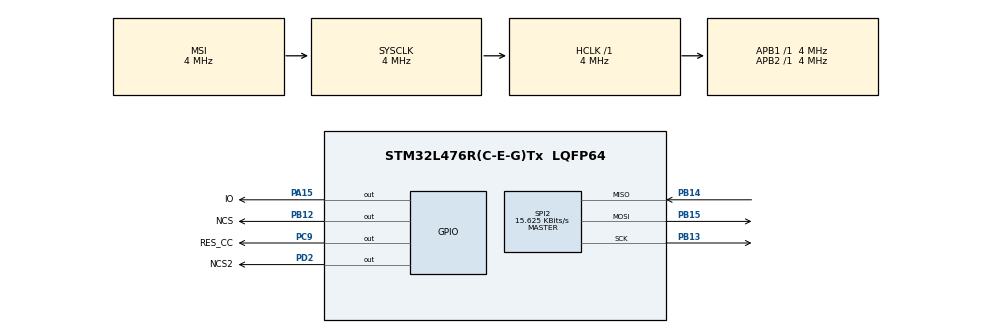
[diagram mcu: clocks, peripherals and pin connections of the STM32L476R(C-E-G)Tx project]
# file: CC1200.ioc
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Mcu.Family=STM32L4
Mcu.Name=STM32L476R(C-E-G)Tx
Mcu.Package=LQFP64
NVIC.PriorityGroup=NVIC_PRIORITYGROUP_4
PA15\ (JTDI).GPIO_Label=IO
PA15\ (JTDI).Signal=GPIO_Output
PB12.GPIO_Label=NCS
PB12.GPIO_Speed=GPIO_SPEED_FREQ_VERY_HIGH
PB12.Signal=GPIO_Output
PB13.Mode=Full_Duplex_Master
PB13.Signal=SPI2_SCK
PB14.GPIO_PuPd=GPIO_NOPULL
PB14.Mode=Full_Duplex_Master
PB14.Signal=SPI2_MISO
PB15.GPIO_PuPd=GPIO_NOPULL
PB15.Mode=Full_Duplex_Master
PB15.Signal=SPI2_MOSI
PB3\ (JTDO-TRACESWO).Signal=SPI1_SCK
PB4\ (NJTRST).Signal=SPI1_MISO
PB5.Signal=SPI1_MOSI
PC9.GPIO_Label=RES_CC
PC9.Signal=GPIO_Output
PD2.GPIO_Label=NCS2
PD2.Signal=GPIO_Output
PH0-OSC_IN\ (PH0).Mode=HSE-External-Oscillator
PH0-OSC_IN\ (PH0).Signal=RCC_OSC_IN
PH1-OSC_OUT\ (PH1).Mode=HSE-External-Oscillator
PH1-OSC_OUT\ (PH1).Signal=RCC_OSC_OUT
ProjectManager.HeapSize=0x200
ProjectManager.StackSize=0x400
ProjectManager.TargetToolchain=STM32CubeIDE
RCC.ADCFreq_Value=64000000
RCC.AHBFreq_Value=4000000
RCC.APB1Freq_Value=4000000
RCC.APB1TimFreq_Value=4000000
RCC.APB2Freq_Value=4000000
RCC.APB2TimFreq_Value=4000000
RCC.CortexFreq_Value=4000000
RCC.HCLKFreq_Value=4000000
RCC.HSE_VALUE=16000000
RCC.HSI_VALUE=16000000
RCC.LSE_VALUE=32768
RCC.MSI_VALUE=4000000
RCC.PLLSourceVirtual=RCC_PLLSOURCE_HSE
RCC.SYSCLKFreq_VALUE=4000000
RCC.USBFreq_Value=64000000
RCC.VCOOutputFreq_Value=128000000
SPI2.BaudRatePrescaler=SPI_BAUDRATEPRESCALER_256
SPI2.CalculateBaudRate=15.625 KBits/s
SPI2.DataSize=SPI_DATASIZE_8BIT
SPI2.Direction=SPI_DIRECTION_2LINES
SPI2.Mode=SPI_MODE_MASTER
SPI2.NSSPMode=SPI_NSS_PULSE_DISABLE
SPI2.VirtualType=VM_MASTER
board=custom

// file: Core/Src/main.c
/* USER CODE BEGIN Header */
/**
  ******************************************************************************
  * @file           : main.c
  * @brief          : Main program body
  ******************************************************************************
  * @attention
  *
  * Copyright (c) 2024 STMicroelectronics.
  * All rights reserved.
  *
  * This software is licensed under terms that can be found in the LICENSE file
  * in the root directory of this software component.
  * If no LICENSE file comes with this software, it is provided AS-IS.
  *
  ******************************************************************************
  */
/* USER CODE END Header */
#include "main.h"

/* USER CODE BEGIN Includes */
#define CC1201_PA_CFG1 0x2B
#define CC1201_PA_CFG0	0x2C
#define CC1201_FS_DSM1 0x2F1A
/* USER CODE END Includes */

SPI_HandleTypeDef hspi2;

void SystemClock_Config(void);
static void MX_GPIO_Init(void);
static void MX_SPI2_Init(void);

/* USER CODE BEGIN 0 */

typedef struct
{
	uint16_t  regAddr;
	uint8_t   value;
}registerSetting_t;

static const registerSetting_t preferredSettings[]=
{
  {CC1201_IOCFG2,            0x06},
  {CC1201_SYNC1,             0x6F},
  {CC1201_SYNC0,             0x4E},
  {CC1201_SYNC_CFG1,         0xE8},
  {CC1201_SYNC_CFG0,         0x13},
  {CC1201_DEVIATION_M,       0xCC},
  {CC1201_MODCFG_DEV_E,      0x08},
  {CC1201_DCFILT_CFG,        0x26},
  {CC1201_PREAMBLE_CFG0,     0x8A},
  {CC1201_IQIC,              0x00},
  {CC1201_CHAN_BW,           0x02},
  {CC1201_MDMCFG1,           0x42},
  {CC1201_MDMCFG0,           0x05},
  {CC1201_SYMBOL_RATE2,      0xA4},
  {CC1201_SYMBOL_RATE1,      0x7A},
  {CC1201_SYMBOL_RATE0,      0xE1},
  {CC1201_AGC_REF,           0x2F},
  {CC1201_AGC_CS_THR,        0xEC},
  {CC1201_AGC_CFG1,          0x16},
  {CC1201_AGC_CFG0,          0x84},
  {CC1201_FIFO_CFG,          0x00},
  {CC1201_FS_CFG,            0x1A},
  {CC1201_PKT_CFG2,          0x20},
  {CC1201_PKT_CFG0,          0x20},
  {CC1201_PA_CFG1,           0x3F},
  {CC1201_PKT_LEN,           0xFF},
  {CC1201_IF_MIX_CFG,        0x18},
  {CC1201_TOC_CFG,           0x03},
  {CC1201_MDMCFG2,           0x00},
  {CC1201_FREQ2,             0x57},
  {CC1201_FREQ1,             0x59},
  {CC1201_FREQ0,             0x99},
  {CC1201_IF_ADC1,           0xEE},
  {CC1201_IF_ADC0,           0x10},
  {CC1201_FS_DIG1,           0x07},
  {CC1201_FS_DIG0,           0x50},
  {CC1201_FS_CAL1,           0x40},
  {CC1201_FS_CAL0,           0x0E},
  {CC1201_FS_DIVTWO,         0x03},
  {CC1201_FS_DSM0,           0x33},
  {CC1201_FS_DVC0,           0x17},
  {CC1201_FS_PFD,            0x00},
  {CC1201_FS_PRE,            0x6E},
  {CC1201_FS_REG_DIV_CML,    0x1C},
  {CC1201_FS_SPARE,          0xAC},
  {CC1201_FS_VCO0,           0xB5},
  {CC1201_IFAMP,             0x0D},
  {CC1201_XOSC5,             0x0E},
  {CC1201_XOSC1,             0x03},
};

void halRfWriteReg(uint16_t regAddr, uint8_t value) {
    CC1200_CS_LOW(); // Активируем чип, устанавливая CS в низкое состояние

    uint8_t tempExt = (uint8_t)(regAddr >> 8);
    uint8_t tempAddr = (uint8_t)(regAddr & 0x00FF);
    uint8_t  statusByte;

    if (tempExt)
    	{
    		uint8_t command = CC1200_WRITE | CC1200_EXT_ADDR;
    		HAL_SPI_TransmitReceive(&hspi2, &command, &statusByte, 1, HAL_MAX_DELAY);
    		HAL_SPI_Transmit(&hspi2, &tempAddr, 1, HAL_MAX_DELAY);
    	}
    	else
    	{
    		tempAddr = CC1200_WRITE | tempAddr;
    		HAL_SPI_TransmitReceive(&hspi2, &tempAddr, &statusByte, 1, HAL_MAX_DELAY);
    	}

    HAL_SPI_Transmit(&hspi2, &value, 1, HAL_MAX_DELAY);

    CC1200_CS_HIGH();
}

void  CC1200_init(){
	 for (int i = 0; i < sizeof(preferredSettings) / sizeof(registerSetting_t); ++i) {
	        halRfWriteReg(preferredSettings[i].regAddr, preferredSettings[i].value);
	    }
}

void halRfWriteFifo(const uint8_t* data, uint8_t length) {
    for (uint8_t i = 0; i < length; i++) {
        halRfWriteReg(CC120X_TXFIFO, 1);
    }
}

void transmitMessage(const uint8_t* message, uint8_t length) {
    // Переход в режим IDLE перед настройкой для отправки
    halRfWriteReg(CC120X_SIDLE, CC120X_WRITE_SINGLE_BYTE);
    //while (halRfReadReg(CC120X_MARCSTATE) != MARCSTATE_IDLE);

    // Очистка TX FIFO перед загрузкой данных
    halRfWriteReg(CC120X_SFTX, CC120X_WRITE_SINGLE_BYTE);

    // Запись сообщения в TX FIFO
    halRfWriteFifo(message, length);

    // Начало передачи
    halRfWriteReg(CC120X_STX, CC120X_WRITE_SINGLE_BYTE);

    // Ожидание завершения передачи может потребовать дополнительной логики,
    // в зависимости от настройки прерываний или проверки статусных регистров.
}

uint8_t readRegisterEx(const uint8_t regAddr)
{
	 	uint8_t readCommand = 0x80 | CC1200_EXT_ADDR;
	    uint8_t statusByte = 0;
	    uint8_t regValue = 0;

	    CC1200_CS_LOW();

	    HAL_SPI_TransmitReceive(&hspi2, &readCommand, &statusByte, 1, HAL_MAX_DELAY);
	    HAL_SPI_TransmitReceive(&hspi2, &regAddr, &regValue, 1, HAL_MAX_DELAY);
	    HAL_SPI_Receive(&hspi2, &regValue, 1, HAL_MAX_DELAY);

	    CC1200_CS_HIGH();

	    return regValue;
}
uint8_t readRegister(const uint8_t regAddr)
{
	 uint8_t readCommand = regAddr | 0x80 |0x00;
	    uint8_t statusByte = 0;
	    uint8_t regValue = 0;

	    CC1200_CS_LOW();

	    HAL_SPI_TransmitReceive(&hspi2, &readCommand, &statusByte, 1, HAL_MAX_DELAY);
	    //HAL_SPI_TransmitReceive(&hspi2, (uint8_t[]){0xFF}, &regValue, 1, HAL_MAX_DELAY);
	    HAL_SPI_Receive(&hspi2, &regValue, 1, HAL_MAX_DELAY);

	    CC1200_CS_HIGH();

	    return regValue;
}
/* USER CODE END 0 */

int main(void)
{

  /* MCU Configuration--------------------------------------------------------*/

  /* Reset of all peripherals, Initializes the Flash interface and the Systick. */
  HAL_Init();

  /* Configure the system clock */
  SystemClock_Config();

  /* Initialize all configured peripherals */
  MX_GPIO_Init();
  MX_SPI2_Init();
  /* USER CODE BEGIN 2 */
  CC1200_CS_HIGH();
  HAL_GPIO_WritePin(RES_CC_GPIO_Port, RES_CC_Pin, 0);
  HAL_Delay(100);
  HAL_GPIO_WritePin(RES_CC_GPIO_Port, RES_CC_Pin, 1);

  halRfWriteReg(0x1B,0x22);
  uint8_t partNum = readRegister(0x1B);
  printf("Part Number: %d\n", partNum);

  uint8_t version = readRegister(VERSION_REG);
  printf("Version: %d\n", version);

  CC1200_init();

  /* USER CODE END 2 */

  /* Infinite loop */
  /* USER CODE BEGIN WHILE */
  uint8_t message[] = "Hello, RF World!";
  transmitMessage(message, sizeof(message) - 1);
  while (1)
  {

	  CC1200_CS_LOW();
	  uint8_t temp=0x3B;
	  HAL_SPI_Transmit(&hspi2, &temp, 1, HAL_MAX_DELAY);
	  CC1200_CS_HIGH();
	  /*
	  CC1200_CS_LOW();
	  temp= CC1200_ENQUEUE_TX_FIFO | CC1200_BURST;
	  uint8_t status;
	  HAL_SPI_Transmit(&hspi2, &temp, 1, HAL_MAX_DELAY);
	  temp=0x00;
	  	for (int i = 0; i < 100; i++)
	  	{

	  		HAL_SPI_TransmitReceive(&hspi2, &temp, &status, 1, HAL_MAX_DELAY);
	  	}
	  	CC1200_CS_HIGH();*/
	  	CC1200_CS_LOW();
	  	temp=0x35;
	  	HAL_SPI_Transmit(&hspi2, &temp, 1, HAL_MAX_DELAY);
	  	CC1200_CS_HIGH();
    /* USER CODE END WHILE */

  }
}

void SystemClock_Config(void)
{
  RCC_OscInitTypeDef RCC_OscInitStruct = {0};
  RCC_ClkInitTypeDef RCC_ClkInitStruct = {0};

  /** Configure the main internal regulator output voltage
  */
  if (HAL_PWREx_ControlVoltageScaling(PWR_REGULATOR_VOLTAGE_SCALE1) != HAL_OK)
  {
    Error_Handler();
  }

  /** Initializes the RCC Oscillators according to the specified parameters
  * in the RCC_OscInitTypeDef structure.
  */
  RCC_OscInitStruct.OscillatorType = RCC_OSCILLATORTYPE_MSI;
  RCC_OscInitStruct.MSIState = RCC_MSI_ON;
  RCC_OscInitStruct.MSICalibrationValue = 0;
  RCC_OscInitStruct.MSIClockRange = RCC_MSIRANGE_6;
  RCC_OscInitStruct.PLL.PLLState = RCC_PLL_NONE;
  if (HAL_RCC_OscConfig(&RCC_OscInitStruct) != HAL_OK)
  {
    Error_Handler();
  }

  /** Initializes the CPU, AHB and APB buses clocks
  */
  RCC_ClkInitStruct.ClockType = RCC_CLOCKTYPE_HCLK|RCC_CLOCKTYPE_SYSCLK
                              |RCC_CLOCKTYPE_PCLK1|RCC_CLOCKTYPE_PCLK2;
  RCC_ClkInitStruct.SYSCLKSource = RCC_SYSCLKSOURCE_MSI;
  RCC_ClkInitStruct.AHBCLKDivider = RCC_SYSCLK_DIV1;
  RCC_ClkInitStruct.APB1CLKDivider = RCC_HCLK_DIV1;
  RCC_ClkInitStruct.APB2CLKDivider = RCC_HCLK_DIV1;

  if (HAL_RCC_ClockConfig(&RCC_ClkInitStruct, FLASH_LATENCY_0) != HAL_OK)
  {
    Error_Handler();
  }
}

static void MX_SPI2_Init(void)
{

  /* SPI2 parameter configuration*/
  hspi2.Instance = SPI2;
  hspi2.Init.Mode = SPI_MODE_MASTER;
  hspi2.Init.Direction = SPI_DIRECTION_2LINES;
  hspi2.Init.DataSize = SPI_DATASIZE_8BIT;
  hspi2.Init.CLKPolarity = SPI_POLARITY_LOW;
  hspi2.Init.CLKPhase = SPI_PHASE_1EDGE;
  hspi2.Init.NSS = SPI_NSS_SOFT;
  hspi2.Init.BaudRatePrescaler = SPI_BAUDRATEPRESCALER_256;
  hspi2.Init.FirstBit = SPI_FIRSTBIT_MSB;
  hspi2.Init.TIMode = SPI_TIMODE_DISABLE;
  hspi2.Init.CRCCalculation = SPI_CRCCALCULATION_DISABLE;
  hspi2.Init.CRCPolynomial = 7;
  hspi2.Init.CRCLength = SPI_CRC_LENGTH_DATASIZE;
  hspi2.Init.NSSPMode = SPI_NSS_PULSE_DISABLE;
  if (HAL_SPI_Init(&hspi2) != HAL_OK)
  {
    Error_Handler();
  }

}

static void MX_GPIO_Init(void)
{
  GPIO_InitTypeDef GPIO_InitStruct = {0};

  /* GPIO Ports Clock Enable */
  __HAL_RCC_GPIOH_CLK_ENABLE();
  __HAL_RCC_GPIOB_CLK_ENABLE();
  __HAL_RCC_GPIOC_CLK_ENABLE();
  __HAL_RCC_GPIOA_CLK_ENABLE();
  __HAL_RCC_GPIOD_CLK_ENABLE();

  /*Configure GPIO pin Output Level */
  HAL_GPIO_WritePin(NCS_GPIO_Port, NCS_Pin, GPIO_PIN_RESET);

  /*Configure GPIO pin Output Level */
  HAL_GPIO_WritePin(RES_CC_GPIO_Port, RES_CC_Pin, GPIO_PIN_RESET);

  /*Configure GPIO pin Output Level */
  HAL_GPIO_WritePin(IO_GPIO_Port, IO_Pin, GPIO_PIN_RESET);

  /*Configure GPIO pin Output Level */
  HAL_GPIO_WritePin(NCS2_GPIO_Port, NCS2_Pin, GPIO_PIN_RESET);

  /*Configure GPIO pin : NCS_Pin */
  GPIO_InitStruct.Pin = NCS_Pin;
  GPIO_InitStruct.Mode = GPIO_MODE_OUTPUT_PP;
  GPIO_InitStruct.Pull = GPIO_NOPULL;
  GPIO_InitStruct.Speed = GPIO_SPEED_FREQ_VERY_HIGH;
  HAL_GPIO_Init(NCS_GPIO_Port, &GPIO_InitStruct);

  /*Configure GPIO pin : RES_CC_Pin */
  GPIO_InitStruct.Pin = RES_CC_Pin;
  GPIO_InitStruct.Mode = GPIO_MODE_OUTPUT_PP;
  GPIO_InitStruct.Pull = GPIO_NOPULL;
  GPIO_InitStruct.Speed = GPIO_SPEED_FREQ_LOW;
  HAL_GPIO_Init(RES_CC_GPIO_Port, &GPIO_InitStruct);

  /*Configure GPIO pin : IO_Pin */
  GPIO_InitStruct.Pin = IO_Pin;
  GPIO_InitStruct.Mode = GPIO_MODE_OUTPUT_PP;
  GPIO_InitStruct.Pull = GPIO_NOPULL;
  GPIO_InitStruct.Speed = GPIO_SPEED_FREQ_LOW;
  HAL_GPIO_Init(IO_GPIO_Port, &GPIO_InitStruct);

  /*Configure GPIO pin : NCS2_Pin */
  GPIO_InitStruct.Pin = NCS2_Pin;
  GPIO_InitStruct.Mode = GPIO_MODE_OUTPUT_PP;
  GPIO_InitStruct.Pull = GPIO_NOPULL;
  GPIO_InitStruct.Speed = GPIO_SPEED_FREQ_LOW;
  HAL_GPIO_Init(NCS2_GPIO_Port, &GPIO_InitStruct);

  /*Configure GPIO pins : PB3 PB4 PB5 */
  GPIO_InitStruct.Pin = GPIO_PIN_3|GPIO_PIN_4|GPIO_PIN_5;
  GPIO_InitStruct.Mode = GPIO_MODE_AF_PP;
  GPIO_InitStruct.Pull = GPIO_NOPULL;
  GPIO_InitStruct.Speed = GPIO_SPEED_FREQ_VERY_HIGH;
  GPIO_InitStruct.Alternate = GPIO_AF5_SPI1;
  HAL_GPIO_Init(GPIOB, &GPIO_InitStruct);

}

void Error_Handler(void)
{
  __disable_irq();
  while (1)
  {
  }
}
